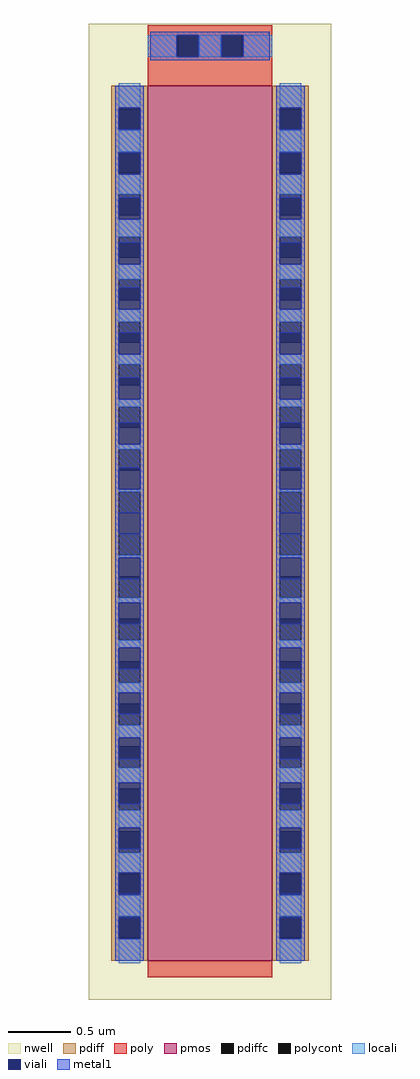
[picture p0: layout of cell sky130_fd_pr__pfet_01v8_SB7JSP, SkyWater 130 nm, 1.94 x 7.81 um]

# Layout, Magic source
magic
tech sky130A
magscale 1 2
<< nwell >>
rect -194 -798 194 764
<< pmos >>
rect -100 -736 100 664
<< pdiff >>
rect -158 627 -100 664
rect -158 593 -146 627
rect -112 593 -100 627
rect -158 559 -100 593
rect -158 525 -146 559
rect -112 525 -100 559
rect -158 491 -100 525
rect -158 457 -146 491
rect -112 457 -100 491
rect -158 423 -100 457
rect -158 389 -146 423
rect -112 389 -100 423
rect -158 355 -100 389
rect -158 321 -146 355
rect -112 321 -100 355
rect -158 287 -100 321
rect -158 253 -146 287
rect -112 253 -100 287
rect -158 219 -100 253
rect -158 185 -146 219
rect -112 185 -100 219
rect -158 151 -100 185
rect -158 117 -146 151
rect -112 117 -100 151
rect -158 83 -100 117
rect -158 49 -146 83
rect -112 49 -100 83
rect -158 15 -100 49
rect -158 -19 -146 15
rect -112 -19 -100 15
rect -158 -53 -100 -19
rect -158 -87 -146 -53
rect -112 -87 -100 -53
rect -158 -121 -100 -87
rect -158 -155 -146 -121
rect -112 -155 -100 -121
rect -158 -189 -100 -155
rect -158 -223 -146 -189
rect -112 -223 -100 -189
rect -158 -257 -100 -223
rect -158 -291 -146 -257
rect -112 -291 -100 -257
rect -158 -325 -100 -291
rect -158 -359 -146 -325
rect -112 -359 -100 -325
rect -158 -393 -100 -359
rect -158 -427 -146 -393
rect -112 -427 -100 -393
rect -158 -461 -100 -427
rect -158 -495 -146 -461
rect -112 -495 -100 -461
rect -158 -529 -100 -495
rect -158 -563 -146 -529
rect -112 -563 -100 -529
rect -158 -597 -100 -563
rect -158 -631 -146 -597
rect -112 -631 -100 -597
rect -158 -665 -100 -631
rect -158 -699 -146 -665
rect -112 -699 -100 -665
rect -158 -736 -100 -699
rect 100 627 158 664
rect 100 593 112 627
rect 146 593 158 627
rect 100 559 158 593
rect 100 525 112 559
rect 146 525 158 559
rect 100 491 158 525
rect 100 457 112 491
rect 146 457 158 491
rect 100 423 158 457
rect 100 389 112 423
rect 146 389 158 423
rect 100 355 158 389
rect 100 321 112 355
rect 146 321 158 355
rect 100 287 158 321
rect 100 253 112 287
rect 146 253 158 287
rect 100 219 158 253
rect 100 185 112 219
rect 146 185 158 219
rect 100 151 158 185
rect 100 117 112 151
rect 146 117 158 151
rect 100 83 158 117
rect 100 49 112 83
rect 146 49 158 83
rect 100 15 158 49
rect 100 -19 112 15
rect 146 -19 158 15
rect 100 -53 158 -19
rect 100 -87 112 -53
rect 146 -87 158 -53
rect 100 -121 158 -87
rect 100 -155 112 -121
rect 146 -155 158 -121
rect 100 -189 158 -155
rect 100 -223 112 -189
rect 146 -223 158 -189
rect 100 -257 158 -223
rect 100 -291 112 -257
rect 146 -291 158 -257
rect 100 -325 158 -291
rect 100 -359 112 -325
rect 146 -359 158 -325
rect 100 -393 158 -359
rect 100 -427 112 -393
rect 146 -427 158 -393
rect 100 -461 158 -427
rect 100 -495 112 -461
rect 146 -495 158 -461
rect 100 -529 158 -495
rect 100 -563 112 -529
rect 146 -563 158 -529
rect 100 -597 158 -563
rect 100 -631 112 -597
rect 146 -631 158 -597
rect 100 -665 158 -631
rect 100 -699 112 -665
rect 146 -699 158 -665
rect 100 -736 158 -699
<< pdiffc >>
rect -146 593 -112 627
rect -146 525 -112 559
rect -146 457 -112 491
rect -146 389 -112 423
rect -146 321 -112 355
rect -146 253 -112 287
rect -146 185 -112 219
rect -146 117 -112 151
rect -146 49 -112 83
rect -146 -19 -112 15
rect -146 -87 -112 -53
rect -146 -155 -112 -121
rect -146 -223 -112 -189
rect -146 -291 -112 -257
rect -146 -359 -112 -325
rect -146 -427 -112 -393
rect -146 -495 -112 -461
rect -146 -563 -112 -529
rect -146 -631 -112 -597
rect -146 -699 -112 -665
rect 112 593 146 627
rect 112 525 146 559
rect 112 457 146 491
rect 112 389 146 423
rect 112 321 146 355
rect 112 253 146 287
rect 112 185 146 219
rect 112 117 146 151
rect 112 49 146 83
rect 112 -19 146 15
rect 112 -87 146 -53
rect 112 -155 146 -121
rect 112 -223 146 -189
rect 112 -291 146 -257
rect 112 -359 146 -325
rect 112 -427 146 -393
rect 112 -495 146 -461
rect 112 -563 146 -529
rect 112 -631 146 -597
rect 112 -699 146 -665
<< poly >>
rect -100 745 100 761
rect -100 711 -51 745
rect -17 711 17 745
rect 51 711 100 745
rect -100 664 100 711
rect -100 -762 100 -736
<< polycont >>
rect -51 711 -17 745
rect 17 711 51 745
<< locali >>
rect -100 711 -53 745
rect -17 711 17 745
rect 53 711 100 745
rect -146 629 -112 668
rect -146 559 -112 593
rect -146 491 -112 523
rect -146 423 -112 451
rect -146 355 -112 379
rect -146 287 -112 307
rect -146 219 -112 235
rect -146 151 -112 163
rect -146 83 -112 91
rect -146 15 -112 19
rect -146 -91 -112 -87
rect -146 -163 -112 -155
rect -146 -235 -112 -223
rect -146 -307 -112 -291
rect -146 -379 -112 -359
rect -146 -451 -112 -427
rect -146 -523 -112 -495
rect -146 -595 -112 -563
rect -146 -665 -112 -631
rect -146 -740 -112 -701
rect 112 629 146 668
rect 112 559 146 593
rect 112 491 146 523
rect 112 423 146 451
rect 112 355 146 379
rect 112 287 146 307
rect 112 219 146 235
rect 112 151 146 163
rect 112 83 146 91
rect 112 15 146 19
rect 112 -91 146 -87
rect 112 -163 146 -155
rect 112 -235 146 -223
rect 112 -307 146 -291
rect 112 -379 146 -359
rect 112 -451 146 -427
rect 112 -523 146 -495
rect 112 -595 146 -563
rect 112 -665 146 -631
rect 112 -740 146 -701
<< viali >>
rect -53 711 -51 745
rect -51 711 -19 745
rect 19 711 51 745
rect 51 711 53 745
rect -146 627 -112 629
rect -146 595 -112 627
rect -146 525 -112 557
rect -146 523 -112 525
rect -146 457 -112 485
rect -146 451 -112 457
rect -146 389 -112 413
rect -146 379 -112 389
rect -146 321 -112 341
rect -146 307 -112 321
rect -146 253 -112 269
rect -146 235 -112 253
rect -146 185 -112 197
rect -146 163 -112 185
rect -146 117 -112 125
rect -146 91 -112 117
rect -146 49 -112 53
rect -146 19 -112 49
rect -146 -53 -112 -19
rect -146 -121 -112 -91
rect -146 -125 -112 -121
rect -146 -189 -112 -163
rect -146 -197 -112 -189
rect -146 -257 -112 -235
rect -146 -269 -112 -257
rect -146 -325 -112 -307
rect -146 -341 -112 -325
rect -146 -393 -112 -379
rect -146 -413 -112 -393
rect -146 -461 -112 -451
rect -146 -485 -112 -461
rect -146 -529 -112 -523
rect -146 -557 -112 -529
rect -146 -597 -112 -595
rect -146 -629 -112 -597
rect -146 -699 -112 -667
rect -146 -701 -112 -699
rect 112 627 146 629
rect 112 595 146 627
rect 112 525 146 557
rect 112 523 146 525
rect 112 457 146 485
rect 112 451 146 457
rect 112 389 146 413
rect 112 379 146 389
rect 112 321 146 341
rect 112 307 146 321
rect 112 253 146 269
rect 112 235 146 253
rect 112 185 146 197
rect 112 163 146 185
rect 112 117 146 125
rect 112 91 146 117
rect 112 49 146 53
rect 112 19 146 49
rect 112 -53 146 -19
rect 112 -121 146 -91
rect 112 -125 146 -121
rect 112 -189 146 -163
rect 112 -197 146 -189
rect 112 -257 146 -235
rect 112 -269 146 -257
rect 112 -325 146 -307
rect 112 -341 146 -325
rect 112 -393 146 -379
rect 112 -413 146 -393
rect 112 -461 146 -451
rect 112 -485 146 -461
rect 112 -529 146 -523
rect 112 -557 146 -529
rect 112 -597 146 -595
rect 112 -629 146 -597
rect 112 -699 146 -667
rect 112 -701 146 -699
<< metal1 >>
rect -96 745 96 751
rect -96 711 -53 745
rect -19 711 19 745
rect 53 711 96 745
rect -96 705 96 711
rect -152 629 -106 664
rect -152 595 -146 629
rect -112 595 -106 629
rect -152 557 -106 595
rect -152 523 -146 557
rect -112 523 -106 557
rect -152 485 -106 523
rect -152 451 -146 485
rect -112 451 -106 485
rect -152 413 -106 451
rect -152 379 -146 413
rect -112 379 -106 413
rect -152 341 -106 379
rect -152 307 -146 341
rect -112 307 -106 341
rect -152 269 -106 307
rect -152 235 -146 269
rect -112 235 -106 269
rect -152 197 -106 235
rect -152 163 -146 197
rect -112 163 -106 197
rect -152 125 -106 163
rect -152 91 -146 125
rect -112 91 -106 125
rect -152 53 -106 91
rect -152 19 -146 53
rect -112 19 -106 53
rect -152 -19 -106 19
rect -152 -53 -146 -19
rect -112 -53 -106 -19
rect -152 -91 -106 -53
rect -152 -125 -146 -91
rect -112 -125 -106 -91
rect -152 -163 -106 -125
rect -152 -197 -146 -163
rect -112 -197 -106 -163
rect -152 -235 -106 -197
rect -152 -269 -146 -235
rect -112 -269 -106 -235
rect -152 -307 -106 -269
rect -152 -341 -146 -307
rect -112 -341 -106 -307
rect -152 -379 -106 -341
rect -152 -413 -146 -379
rect -112 -413 -106 -379
rect -152 -451 -106 -413
rect -152 -485 -146 -451
rect -112 -485 -106 -451
rect -152 -523 -106 -485
rect -152 -557 -146 -523
rect -112 -557 -106 -523
rect -152 -595 -106 -557
rect -152 -629 -146 -595
rect -112 -629 -106 -595
rect -152 -667 -106 -629
rect -152 -701 -146 -667
rect -112 -701 -106 -667
rect -152 -736 -106 -701
rect 106 629 152 664
rect 106 595 112 629
rect 146 595 152 629
rect 106 557 152 595
rect 106 523 112 557
rect 146 523 152 557
rect 106 485 152 523
rect 106 451 112 485
rect 146 451 152 485
rect 106 413 152 451
rect 106 379 112 413
rect 146 379 152 413
rect 106 341 152 379
rect 106 307 112 341
rect 146 307 152 341
rect 106 269 152 307
rect 106 235 112 269
rect 146 235 152 269
rect 106 197 152 235
rect 106 163 112 197
rect 146 163 152 197
rect 106 125 152 163
rect 106 91 112 125
rect 146 91 152 125
rect 106 53 152 91
rect 106 19 112 53
rect 146 19 152 53
rect 106 -19 152 19
rect 106 -53 112 -19
rect 146 -53 152 -19
rect 106 -91 152 -53
rect 106 -125 112 -91
rect 146 -125 152 -91
rect 106 -163 152 -125
rect 106 -197 112 -163
rect 146 -197 152 -163
rect 106 -235 152 -197
rect 106 -269 112 -235
rect 146 -269 152 -235
rect 106 -307 152 -269
rect 106 -341 112 -307
rect 146 -341 152 -307
rect 106 -379 152 -341
rect 106 -413 112 -379
rect 146 -413 152 -379
rect 106 -451 152 -413
rect 106 -485 112 -451
rect 146 -485 152 -451
rect 106 -523 152 -485
rect 106 -557 112 -523
rect 146 -557 152 -523
rect 106 -595 152 -557
rect 106 -629 112 -595
rect 146 -629 152 -595
rect 106 -667 152 -629
rect 106 -701 112 -667
rect 146 -701 152 -667
rect 106 -736 152 -701
<< end >>
